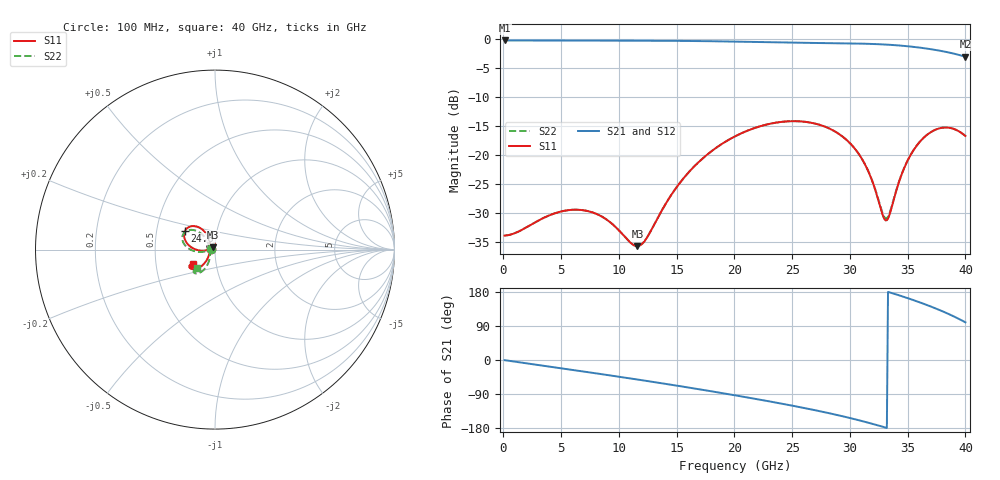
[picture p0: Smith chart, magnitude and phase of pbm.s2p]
! C_s8_mixed: physics-based via model (prototype), ports at the via
# Hz S RI R 50
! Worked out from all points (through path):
!   400 points, 100 MHz to 40 GHz, reference 50 ohm
!   highest |S21| = -0.18 dB at 100 MHz (marker M1); lowest = -3.0 dB at 40 GHz (marker M2)
!   group delay of S21, straight-line fit = 16.4 ps
!   lowest |S11| = -35.7 dB at 11.6 GHz (marker M3), VSWR 1.03, Z = 48.9 + j1.21 ohm
!   |S11| at or under -10 dB: start of sweep to end of sweep
!   |S22| runs from -35.7 to -14.1 dB; largest |S21 - S12| = 0
!   S11 on the Smith chart (normalised r, x): 100 MHz: 0.96, +0.00; 24.8 GHz: 0.70, +0.15; 40 GHz: 0.77, -0.12
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1e8  -0.0202 0.000833  0.9797 -0.00746  0.9797 -0.00746  -0.0202 0.000821
4.5e9  -0.00976 0.0301  0.9216 -0.3291  0.9216 -0.3291  -0.0106 0.0298
6.8e9  -0.00197 0.0336  0.8486 -0.4855  0.8486 -0.4855  -0.00332 0.0335
8.8e9  0.000336 0.0284  0.7624 -0.6107  0.7624 -0.6107  -0.00115 0.0284
1.16e10  -0.0108 0.0124  0.6077 -0.7631  0.6077 -0.7631  -0.0116 0.0116
1.23e10  -0.0169 0.00786  0.563 -0.7961  0.563 -0.7961  -0.0174 0.00666
1.34e10  -0.0292 0.00138  0.4882 -0.8429  0.4882 -0.8429  -0.0293 -0.000887
1.48e10  -0.0496 -0.0045  0.3855 -0.8926  0.3855 -0.8926  -0.049 -0.00875
1.63e10  -0.0758 -0.00587  0.2673 -0.9319  0.2673 -0.9319  -0.0749 -0.0131
2.01e10  -0.1446 0.0229  -0.0569 -0.956  -0.0569 -0.956  -0.1463 0.00567
2.24e10  -0.1694 0.0609  -0.2572 -0.9127  -0.2572 -0.9127  -0.1759 0.038
2.48e10  -0.1669 0.1039  -0.4591 -0.819  -0.4591 -0.819  -0.1804 0.0784
2.67e10  -0.1417 0.1272  -0.6085 -0.7073  -0.6085 -0.7073  -0.1601 0.1032
2.88e10  -0.0954 0.1265  -0.7551 -0.539  -0.7551 -0.539  -0.1158 0.1082
3.04e10  -0.0576 0.0992  -0.8434 -0.3743  -0.8434 -0.3743  -0.075 0.0871
3.17e10  -0.0346 0.0593  -0.8899 -0.2159  -0.8899 -0.2159  -0.0459 0.0516
3.3e10  -0.0269 0.00767  -0.9034 -0.0385  -0.9034 -0.0385  -0.029 0.00223
3.34e10  -0.0286 -0.00921  -0.8992 0.0188  -0.8992 0.0188  -0.0273 -0.0147
3.47e10  -0.0477 -0.0611  -0.8541 0.2083  -0.8541 0.2083  -0.0355 -0.0693
3.62e10  -0.09 -0.1013  -0.7358 0.4175  -0.7358 0.4175  -0.0678 -0.1176
3.81e10  -0.139 -0.1033  -0.4797 0.6259  -0.4797 0.6259  -0.1135 -0.131
4e10  -0.1239 -0.0785  -0.1158 0.698  -0.1158 0.698  -0.1028 -0.1049
